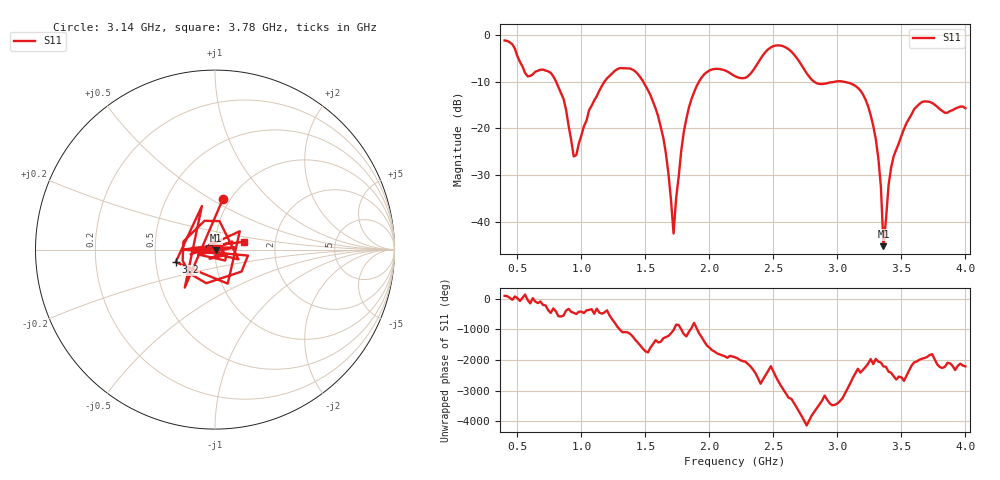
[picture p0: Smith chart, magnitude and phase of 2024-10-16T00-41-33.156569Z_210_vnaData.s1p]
! Created with skrf (http://scikit-rf.org).
# Hz S RI R 50.0
!freq ReS11 ImS11
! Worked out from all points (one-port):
!   181 points, 400 MHz to 4 GHz, reference 50 ohm
!   lowest |S11| = -45.2 dB at 3.36 GHz (marker M1), VSWR 1.01, Z = 50.4 - j0.428 ohm
!   |S11| at or under -10 dB: 801.7 MHz to 1.181 GHz (378.8 MHz wide, 38.2 % of centre); 1.482 GHz to 1.919 GHz (437.1 MHz wide, 25.7 % of centre); 3.041 GHz to end of sweep (the widest 3 of 4)
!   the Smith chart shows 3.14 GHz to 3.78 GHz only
!   S11 on the Smith chart (normalised r, x): 3.14 GHz: 0.93, +0.57; 3.2 GHz: 0.64, -0.09; 3.78 GHz: 1.39, +0.13
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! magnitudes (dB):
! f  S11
! 400 MHz  -1.2
! 580 MHz  -8.9
! 760 MHz  -8.1
! 860 MHz  -13.7
! 960 MHz  -25.7
! 1.06 GHz  -16.1
! 1.3 GHz  -7.1
! 1.44 GHz  -8.4
! 1.58 GHz  -15.8
! 1.66 GHz  -25.3
! 1.72 GHz  -42.5
! 1.76 GHz  -30.4
! 1.82 GHz  -18.0
! 1.92 GHz  -10.0
! 2.2 GHz  -8.9
! 2.5 GHz  -2.4
! 2.66 GHz  -4.2
! 2.84 GHz  -10.4
! 3.1 GHz  -10.4
! 3.14 GHz  -10.9
! 3.2 GHz  -12.8
! 3.3 GHz  -22.3
! 3.34 GHz  -32.5
! 3.36 GHz  -45.2
! 3.42 GHz  -28.3
! 3.56 GHz  -17.9
! 3.78 GHz  -15.4
! 4 GHz  -15.7
